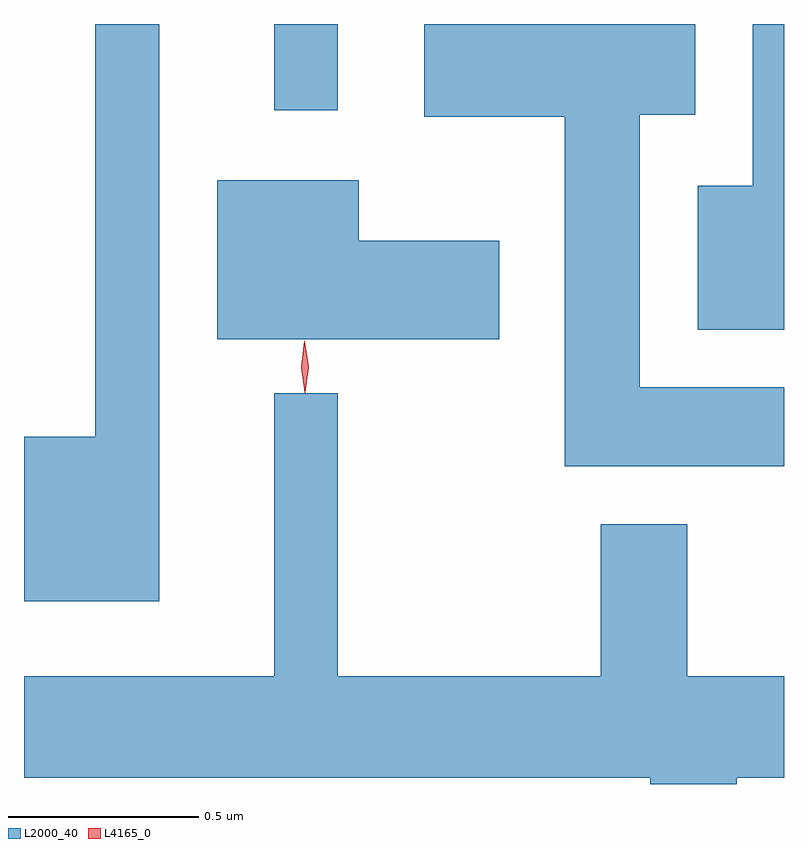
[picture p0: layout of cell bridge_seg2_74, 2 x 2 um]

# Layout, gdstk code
import gdstk
lib = gdstk.Library(unit=1e-6, precision=1e-09)
def R(c, l, rs):  # rectangles x0, y0, x1, y1
    for r in rs: c.add(gdstk.rectangle(r[:2], r[2:], *l))
def P(c, l, *ps):  # polygons
    for p in ps: c.add(gdstk.Polygon(p, *l))
L2000_40 = (2000, 40)
L4165_0 = (4165, 0)

bridge_seg2_74 = lib.new_cell('bridge_seg2_74')
R(bridge_seg2_74, L2000_40, [(1110.671,1103.353,1110.839,1103.58)])
P(bridge_seg2_74, L2000_40, [(1112.013,1103.58),(1111.931,1103.58),(1111.931,1103.154),(1111.786,1103.154),(1111.786,1102.776),(1112.013,1102.776)],
  [(1110.369,1103.58),(1110.201,1103.58),(1110.201,1102.494),(1110.013,1102.494),(1110.013,1102.061),(1110.369,1102.061)],
  [(1112.013,1102.624),(1111.634,1102.624),(1111.634,1103.341),(1111.779,1103.341),(1111.779,1103.58),(1111.066,1103.58),(1111.066,1103.336),(1111.436,1103.336),(1111.436,1102.416),(1112.013,1102.416)],
  [(1111.264,1103.009),(1110.894,1103.009),(1110.894,1103.169),(1110.521,1103.169),(1110.521,1102.751),(1111.264,1102.751)],
  [(1111.889,1101.596),(1112.013,1101.596),(1112.013,1101.864),(1111.759,1101.864),(1111.759,1102.264),(1111.531,1102.264),(1111.531,1101.864),(1110.839,1101.864),(1110.839,1102.608),(1110.671,1102.608),(1110.671,1101.864),(1110.013,1101.864),(1110.013,1101.596),(1111.661,1101.596),(1111.661,1101.58),(1111.889,1101.58)])
P(bridge_seg2_74, L4165_0, [(1110.752,1102.61),(1110.752,1102.61),(1110.742,1102.678),(1110.751,1102.745),(1110.752,1102.746),(1110.752,1102.745),(1110.762,1102.678),(1110.753,1102.61)],
  [(1110.752,1102.613),(1110.752,1102.613),(1110.742,1102.676),(1110.752,1102.74),(1110.752,1102.74),(1110.752,1102.74),(1110.762,1102.676),(1110.753,1102.613)])

lib.write_gds('bridge_seg2_74.gds')
